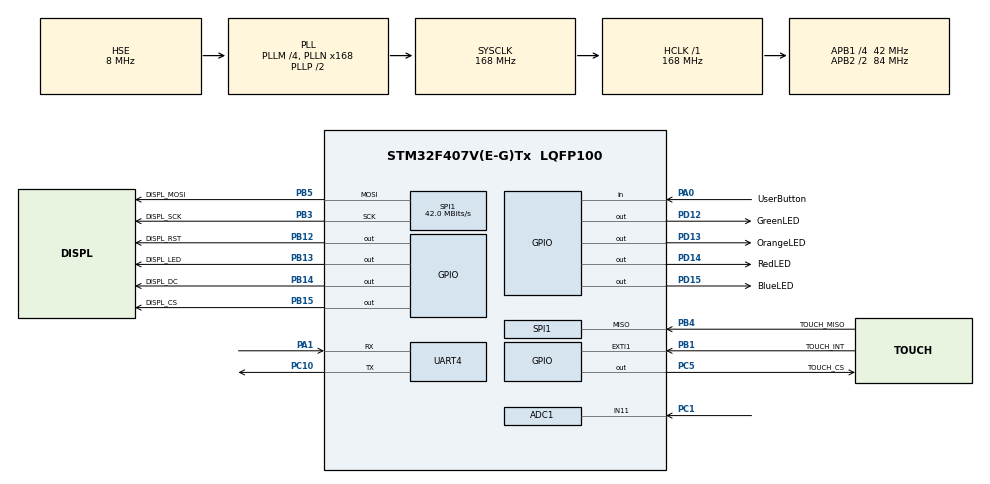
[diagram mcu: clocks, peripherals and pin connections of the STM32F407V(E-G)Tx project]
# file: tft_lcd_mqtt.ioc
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ADC1.Channel-0\#ChannelRegularConversion=ADC_CHANNEL_11
ADC1.ExternalTrigConv=ADC_EXTERNALTRIGCONV_T3_TRGO
ADC1.NbrOfConversionFlag=1
ADC1.Rank-0\#ChannelRegularConversion=1
ADC1.SamplingTime-0\#ChannelRegularConversion=ADC_SAMPLETIME_84CYCLES
ADC1.master=1
Dma.Request0=SPI1_TX
Dma.SPI1_TX.0.Direction=DMA_MEMORY_TO_PERIPH
Dma.SPI1_TX.0.FIFOMode=DMA_FIFOMODE_DISABLE
Dma.SPI1_TX.0.Instance=DMA2_Stream3
Dma.SPI1_TX.0.MemDataAlignment=DMA_MDATAALIGN_BYTE
Dma.SPI1_TX.0.MemInc=DMA_MINC_ENABLE
Dma.SPI1_TX.0.Mode=DMA_NORMAL
Dma.SPI1_TX.0.PeriphDataAlignment=DMA_PDATAALIGN_BYTE
Dma.SPI1_TX.0.PeriphInc=DMA_PINC_DISABLE
Dma.SPI1_TX.0.Priority=DMA_PRIORITY_LOW
Mcu.Family=STM32F4
Mcu.Name=STM32F407V(E-G)Tx
Mcu.Package=LQFP100
NVIC.ADC_IRQn=true\:0\:0\:false\:false\:true\:true\:true\:true
NVIC.DMA2_Stream3_IRQn=true\:0\:0\:false\:false\:true\:false\:true\:true
NVIC.EXTI1_IRQn=true\:0\:0\:false\:false\:true\:true\:true\:true
NVIC.PriorityGroup=NVIC_PRIORITYGROUP_0
NVIC.SPI1_IRQn=true\:0\:0\:false\:false\:true\:true\:true\:true
NVIC.TIM2_IRQn=true\:0\:0\:false\:false\:true\:true\:true\:true
NVIC.UART4_IRQn=true\:0\:0\:false\:false\:true\:true\:true\:true
PA0-WKUP.GPIO_Label=UserButton
PA0-WKUP.Signal=GPIO_Input
PA1.Mode=Asynchronous
PA1.Signal=UART4_RX
PB1.GPIO_Label=TOUCH_INT
PB1.GPIO_ModeDefaultEXTI=GPIO_MODE_IT_FALLING
PB1.GPIO_PuPd=GPIO_PULLUP
PB1.Signal=GPXTI1
PB12.GPIO_Label=DISPL_RST
PB12.Signal=GPIO_Output
PB13.GPIO_Label=DISPL_LED
PB13.Signal=GPIO_Output
PB14.GPIO_Label=DISPL_DC
PB14.Signal=GPIO_Output
PB15.GPIO_Label=DISPL_CS
PB15.PinState=GPIO_PIN_SET
PB15.Signal=GPIO_Output
PB3.GPIO_Label=DISPL_SCK
PB3.Mode=Full_Duplex_Master
PB3.Signal=SPI1_SCK
PB4.GPIO_Label=TOUCH_MISO
PB4.Mode=Full_Duplex_Master
PB4.Signal=SPI1_MISO
PB5.GPIO_Label=DISPL_MOSI
PB5.Mode=Full_Duplex_Master
PB5.Signal=SPI1_MOSI
PC1.Signal=ADCx_IN11
PC10.Mode=Asynchronous
PC10.Signal=UART4_TX
PC5.GPIO_Label=TOUCH_CS
PC5.PinState=GPIO_PIN_SET
PC5.Signal=GPIO_Output
PD12.GPIO_Label=GreenLED
PD12.Signal=GPIO_Output
PD13.GPIO_Label=OrangeLED
PD13.Signal=GPIO_Output
PD14.GPIO_Label=RedLED
PD14.Signal=GPIO_Output
PD15.GPIO_Label=BlueLED
PD15.Signal=GPIO_Output
PH0-OSC_IN.Mode=HSE-External-Oscillator
PH0-OSC_IN.Signal=RCC_OSC_IN
PH1-OSC_OUT.Mode=HSE-External-Oscillator
PH1-OSC_OUT.Signal=RCC_OSC_OUT
ProjectManager.HeapSize=0x200
ProjectManager.StackSize=0x400
ProjectManager.TargetToolchain=STM32CubeIDE
RCC.48MHZClocksFreq_Value=48000000
RCC.AHBFreq_Value=168000000
RCC.APB1CLKDivider=RCC_HCLK_DIV4
RCC.APB1Freq_Value=42000000
RCC.APB1TimFreq_Value=84000000
RCC.APB2CLKDivider=RCC_HCLK_DIV2
RCC.APB2Freq_Value=84000000
RCC.APB2TimFreq_Value=168000000
RCC.CortexFreq_Value=168000000
RCC.HCLKFreq_Value=168000000
RCC.HSE_VALUE=8000000
RCC.HSI_VALUE=16000000
RCC.LSE_VALUE=32768
RCC.PLLM=4
RCC.PLLN=168
RCC.PLLQ=7
RCC.PLLSourceVirtual=RCC_PLLSOURCE_HSE
RCC.SYSCLKFreq_VALUE=168000000
RCC.SYSCLKSource=RCC_SYSCLKSOURCE_PLLCLK
RCC.VCOOutputFreq_Value=336000000
SH.ADCx_IN11.0=ADC1_IN11,IN11
SPI1.CalculateBaudRate=42.0 MBits/s
SPI1.Direction=SPI_DIRECTION_2LINES
SPI1.Mode=SPI_MODE_MASTER
SPI1.VirtualType=VM_MASTER
STMicroelectronics.X-CUBE-TOUCHGFX.4.24.1.ApplicationCcGraphicsJjApplication=TouchGFXOoGenerator
STMicroelectronics.X-CUBE-TOUCHGFX.4.24.1.tgfx_block_size=1920
STMicroelectronics.X-CUBE-TOUCHGFX.4.24.1.tgfx_buffering_strategy=Partial
STMicroelectronics.X-CUBE-TOUCHGFX.4.24.1.tgfx_custom_height=240
STMicroelectronics.X-CUBE-TOUCHGFX.4.24.1.tgfx_custom_width=320 
STMicroelectronics.X-CUBE-TOUCHGFX.4.24.1_IsPackSelfContextualization=true
TIM2.Period=1400-1
TIM2.Prescaler=1000-1
TIM3.Period=10000-1
TIM3.Prescaler=8400-1
TIM3.TIM_MasterOutputTrigger=TIM_TRGO_UPDATE
UART4.VirtualMode=Asynchronous
VP_CRC_VS_CRC.Mode=CRC_Activate
VP_STMicroelectronics.X-CUBE-TOUCHGFX_VS_GraphicsJjApplication_4.24.1.Mode=GraphicsJjApplication
VP_TIM2_VS_ClockSourceINT.Mode=Internal
VP_TIM3_VS_ClockSourceINT.Mode=Internal
board=STM32F407G-DISC1

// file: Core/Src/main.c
/* USER CODE BEGIN Header */
/**
  ******************************************************************************
  * @file           : main.c
  * @brief          : Main program body
  ******************************************************************************
  * @attention
  *
  * Copyright (c) 2024 STMicroelectronics.
  * All rights reserved.
  *
  * This software is licensed under terms that can be found in the LICENSE file
  * in the root directory of this software component.
  * If no LICENSE file comes with this software, it is provided AS-IS.
  *
  ******************************************************************************
  */
// PA1 UART RX
// PC10 UART TX
/* USER CODE END Header */
#include "main.h"
#include "adc.h"
#include "crc.h"
#include "dma.h"
#include "spi.h"
#include "tim.h"
#include "usart.h"
#include "gpio.h"
#include "app_touchgfx.h"

/* USER CODE BEGIN Includes */
#include <stdbool.h>
#include <math.h>
#include <stdio.h>

/* USER CODE END Includes */

/* USER CODE BEGIN PD */
#define THERMRESNOM 100000 //datasheet says thermistor has resistance of 100k at 25C
#define BCOEFF 3950
#define TEMPNOM 25
#define ADCMAX 4095  //2^12-1 for a 12 bit ADC
#define AVG_OVER 100

#define USER_BUTTON 0
#define MQTT_BUTTON 1

/* USER CODE END PD */

/* USER CODE BEGIN PV */
bool buttonPressed = false;
bool lastbutton = false;

uint32_t adc_input = 3800; // initialized to avoid spike in first calculation of temperature

float thermRes;
float temp1;
float temperature = 20.0;
int avg_count = 0;
float avg_total = 0.0;

char temp_data_buffer[6] ="\0"; // buffer of temperature data
uint8_t button_buffer[1] = {0};
char user_button_buffer[2] = "\0";

/* USER CODE END PV */

void SystemClock_Config(void);

/* USER CODE BEGIN 0 */
void leds(char selection)
{
	if(selection == 'R'){
		  HAL_GPIO_TogglePin(RedLED_GPIO_Port, RedLED_Pin);
		 // HAL_Delay(50);
	}
	else if(selection == 'B') {
		HAL_GPIO_TogglePin(BlueLED_GPIO_Port, BlueLED_Pin);
		//HAL_Delay(50);
	}
	else if(selection == 'G') {
		HAL_GPIO_TogglePin(GreenLED_GPIO_Port, GreenLED_Pin);
		//HAL_Delay(50);
	}
}

void HAL_ADC_ConvCpltCallback(ADC_HandleTypeDef *hadc)
{
     if(hadc->Instance==ADC1) {
	     adc_input = HAL_ADC_GetValue(&hadc1);
	 }
     HAL_GPIO_TogglePin(OrangeLED_GPIO_Port, OrangeLED_Pin);
}

/* USER CODE END 0 */

int main(void)
{

  /* MCU Configuration--------------------------------------------------------*/

  /* Reset of all peripherals, Initializes the Flash interface and the Systick. */
  HAL_Init();

  /* Configure the system clock */
  SystemClock_Config();

  /* Initialize all configured peripherals */
  MX_GPIO_Init();
  MX_DMA_Init();
  MX_TIM2_Init();
  MX_CRC_Init();
  MX_SPI1_Init();
  MX_ADC1_Init();
  MX_TIM3_Init();
  MX_UART4_Init();
  MX_TouchGFX_Init();
  /* USER CODE BEGIN 2 */
  Displ_Init(Displ_Orientat_90);
  Displ_BackLight('I'); // initializes backlight
  HAL_TIM_Base_Start_IT(&TGFX_T);
  Displ_BackLight('1'); // turn on the backlight

  HAL_TIM_Base_Start(&htim3);
  HAL_ADC_Start_IT(&hadc1);

  /* USER CODE END 2 */

  /* Infinite loop */
  /* USER CODE BEGIN WHILE */
  // transmit initial temperature null string
  HAL_UART_Transmit(&huart4,(uint8_t *)temp_data_buffer,strlen(temp_data_buffer),50);

   while (1)
  {
//	  HAL_ADC_Start(&hadc1);
//	  HAL_ADC_PollForConversion(&hadc1, 200);
//	  adc_input = HAL_ADC_GetValue(&hadc1);
//	  HAL_ADC_Stop(&hadc1);
//	  HAL_Delay(200);

	  // this equation converts ADC value to thermistor resistance
	  // 10k is resistor between thermistor and 3.3 V
	  thermRes = 10000*adc_input/(ADCMAX-adc_input);
	  avg_total += thermRes;
	  avg_count++;
	  // solving equation 1/T = 1/To + 1/B ln(R/Ro)
	  // thermistor has resistance Ro at To, temperatures in Kelvin
	  if(avg_count == AVG_OVER) {
		  thermRes = avg_total/(float)AVG_OVER;
		  temperature = thermRes/THERMRESNOM;
	  	  temperature = log(temperature);
	  	  temperature /= BCOEFF;
	  	  temperature += 1.0/(TEMPNOM + 273.15);
	  	  temperature = 1.0/temperature;
	  	  temperature = temperature - 273.15;
	  	  avg_total = 0.0;
	  	  avg_count = 0;
	  	  if(temperature > -120.0 && temperature < 120.0) {
	  		  sprintf(temp_data_buffer,"%4.1f",temperature);
	  		  HAL_UART_Transmit(&huart4,(uint8_t *)temp_data_buffer,strlen(temp_data_buffer),50);
	  	  }
	  }

	  #if USER_BUTTON
	  // use the following code with User Button control
      if(HAL_GPIO_ReadPin(UserButton_GPIO_Port, UserButton_Pin) == GPIO_PIN_RESET && lastbutton != false)
      {
		 buttonPressed = false;
//		 sprintf(user_button_buffer, "%d", (int)buttonPressed);
//		 HAL_UART_Transmit(&huart4,(uint8_t *)user_button_buffer,1,1);
		 lastbutton = buttonPressed;
	  }
	  else if (HAL_GPIO_ReadPin(UserButton_GPIO_Port, UserButton_Pin) == GPIO_PIN_SET && lastbutton != true)
	  {
		 buttonPressed = true;
//		 sprintf(user_button_buffer, "%d", (int)buttonPressed);
//		 HAL_UART_Transmit(&huart4,(uint8_t *)user_button_buffer,1,1);
		 lastbutton = buttonPressed;
	  }
	  #elif MQTT_BUTTON
	  // use the following code with MQTT button subscription control
	  HAL_UART_Receive(&huart4,(uint8_t *) button_buffer, 1, 1); // with 1 msec timeout since messages are rare
	  if(button_buffer[0] == 0 || button_buffer[0] == 1)
		  buttonPressed = (bool)button_buffer[0];
	  #endif
    /* USER CODE END WHILE */

      MX_TouchGFX_Process();
  }
}

void SystemClock_Config(void)
{
  RCC_OscInitTypeDef RCC_OscInitStruct = {0};
  RCC_ClkInitTypeDef RCC_ClkInitStruct = {0};

  /** Configure the main internal regulator output voltage
  */
  __HAL_RCC_PWR_CLK_ENABLE();
  __HAL_PWR_VOLTAGESCALING_CONFIG(PWR_REGULATOR_VOLTAGE_SCALE1);

  /** Initializes the RCC Oscillators according to the specified parameters
  * in the RCC_OscInitTypeDef structure.
  */
  RCC_OscInitStruct.OscillatorType = RCC_OSCILLATORTYPE_HSE;
  RCC_OscInitStruct.HSEState = RCC_HSE_ON;
  RCC_OscInitStruct.PLL.PLLState = RCC_PLL_ON;
  RCC_OscInitStruct.PLL.PLLSource = RCC_PLLSOURCE_HSE;
  RCC_OscInitStruct.PLL.PLLM = 4;
  RCC_OscInitStruct.PLL.PLLN = 168;
  RCC_OscInitStruct.PLL.PLLP = RCC_PLLP_DIV2;
  RCC_OscInitStruct.PLL.PLLQ = 7;
  if (HAL_RCC_OscConfig(&RCC_OscInitStruct) != HAL_OK)
  {
    Error_Handler();
  }

  /** Initializes the CPU, AHB and APB buses clocks
  */
  RCC_ClkInitStruct.ClockType = RCC_CLOCKTYPE_HCLK|RCC_CLOCKTYPE_SYSCLK
                              |RCC_CLOCKTYPE_PCLK1|RCC_CLOCKTYPE_PCLK2;
  RCC_ClkInitStruct.SYSCLKSource = RCC_SYSCLKSOURCE_PLLCLK;
  RCC_ClkInitStruct.AHBCLKDivider = RCC_SYSCLK_DIV1;
  RCC_ClkInitStruct.APB1CLKDivider = RCC_HCLK_DIV4;
  RCC_ClkInitStruct.APB2CLKDivider = RCC_HCLK_DIV2;

  if (HAL_RCC_ClockConfig(&RCC_ClkInitStruct, FLASH_LATENCY_5) != HAL_OK)
  {
    Error_Handler();
  }
}

void Error_Handler(void)
{
  __disable_irq();
  while (1)
  {
  }
}
